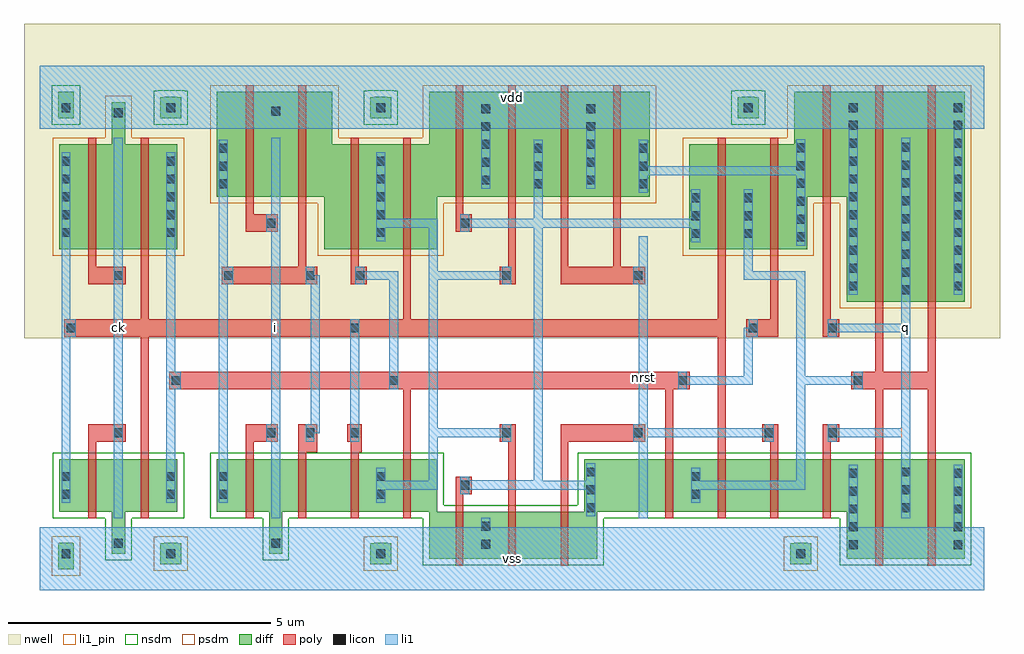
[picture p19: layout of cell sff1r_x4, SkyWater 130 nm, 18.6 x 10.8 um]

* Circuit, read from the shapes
.subckt sff1r_x4 ck i nrst q vdd vss
XM1 vss ck n1 VSUBS sky130_fd_pr__nfet_01v8 w=1 l=0.15
XM2 n2 n1 vss VSUBS sky130_fd_pr__nfet_01v8 w=1 l=0.15
XM3 vss i n3 VSUBS sky130_fd_pr__nfet_01v8 w=1 l=0.15
XM4 n4 n3 vss VSUBS sky130_fd_pr__nfet_01v8 w=1 l=0.15
XM5 n5 n1 n4 VSUBS sky130_fd_pr__nfet_01v8 w=1 l=0.15
XM6 n6 n2 n5 VSUBS sky130_fd_pr__nfet_01v8 w=1 l=0.15
XM7 vss n7 n6 VSUBS sky130_fd_pr__nfet_01v8 w=0.9 l=0.15
XM8 n8 n5 vss VSUBS sky130_fd_pr__nfet_01v8 w=0.9 l=0.15
XM9 n7 nrst n8 VSUBS sky130_fd_pr__nfet_01v8 w=0.9 l=0.15
XM10 n9 n2 n7 VSUBS sky130_fd_pr__nfet_01v8 w=1 l=0.15
XM11 n10 n1 n9 VSUBS sky130_fd_pr__nfet_01v8 w=1 l=0.15
XM12 n11 nrst n10 VSUBS sky130_fd_pr__nfet_01v8 w=1 l=0.15
XM13 vss q n11 VSUBS sky130_fd_pr__nfet_01v8 w=1 l=0.15
XM14 q n9 vss VSUBS sky130_fd_pr__nfet_01v8 w=1.9 l=0.15 m=2
XM15 vdd ck n1 n12 sky130_fd_pr__pfet_01v8 w=2 l=0.15
XM16 n2 n1 vdd n12 sky130_fd_pr__pfet_01v8 w=2 l=0.15
XM17 vdd i n3 n12 sky130_fd_pr__pfet_01v8 w=2 l=0.15
XM18 n13 n3 vdd n12 sky130_fd_pr__pfet_01v8 w=2 l=0.15
XM19 n5 n2 n13 n12 sky130_fd_pr__pfet_01v8 w=2 l=0.15
XM20 n14 n1 n5 n12 sky130_fd_pr__pfet_01v8 w=2 l=0.15
XM21 vdd n7 n14 n12 sky130_fd_pr__pfet_01v8 w=2 l=0.15
XM22 n7 n5 vdd n12 sky130_fd_pr__pfet_01v8 w=2 l=0.15
XM23 vdd nrst n7 n12 sky130_fd_pr__pfet_01v8 w=2 l=0.15
XM24 n15 nrst vdd n12 sky130_fd_pr__pfet_01v8 w=2 l=0.15
XM25 n9 n1 n7 n12 sky130_fd_pr__pfet_01v8 w=2 l=0.15
XM26 n15 n2 n9 n12 sky130_fd_pr__pfet_01v8 w=2 l=0.15
XM27 vdd q n15 n12 sky130_fd_pr__pfet_01v8 w=2 l=0.15
XM28 q n9 vdd n12 sky130_fd_pr__pfet_01v8 w=4 l=0.15 m=2
.ends

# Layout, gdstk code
import gdstk
lib = gdstk.Library(unit=1e-6, precision=1e-09)
def R(c, l, rs):  # rectangles x0, y0, x1, y1
    for r in rs: c.add(gdstk.rectangle(r[:2], r[2:], *l))
def A(c, l, x, y, w, h, nx, ny, dx, dy):  # array of equal rectangles
    R(c, l, [(x+i*dx, y+j*dy, x+i*dx+w, y+j*dy+h) for i in range(nx) for j in range(ny)])
def P(c, l, *ps):  # polygons
    for p in ps: c.add(gdstk.Polygon(p, *l))
nwell = (64, 20)
diff = (65, 20)
poly = (66, 20)
licon = (66, 44)
li1_pin = (67, 16)
li1 = (67, 20)
nsdm = (93, 44)
psdm = (94, 20)

sff1r_x4 = lib.new_cell('sff1r_x4')
R(sff1r_x4, nwell, [(-0.3,4.8,18.3,10.8)])
P(sff1r_x4, diff, [(0.35,0.4),(0.35,0.9),(0.375,0.9),(0.375,0.905),(0.625,0.905),(0.625,0.9),(0.65,0.9),(0.65,0.4)],
  [(2.375,0.495),(2.375,0.5),(2.3,0.5),(2.3,0.9),(2.375,0.9),(2.375,0.905),(2.625,0.905),(2.625,0.9),(2.7,0.9),(2.7,0.5),(2.625,0.5),(2.625,0.495)],
  [(6.375,0.495),(6.375,0.5),(6.3,0.5),(6.3,0.9),(6.375,0.9),(6.375,0.905),(6.625,0.905),(6.625,0.9),(6.7,0.9),(6.7,0.5),(6.625,0.5),(6.625,0.495)],
  [(14.375,0.495),(14.375,0.5),(14.3,0.5),(14.3,0.9),(14.375,0.9),(14.375,0.905),(14.625,0.905),(14.625,0.9),(14.7,0.9),(14.7,0.5),(14.625,0.5),(14.625,0.495)],
  [(1.375,0.695),(1.375,1.5),(0.375,1.5),(0.375,2.5),(2.625,2.5),(2.625,1.5),(1.625,1.5),(1.625,0.695)],
  [(7.425,0.6),(7.425,1.5),(4.625,1.5),(4.625,0.695),(4.375,0.695),(4.375,1.5),(3.375,1.5),(3.375,2.5),(7.575,2.5),(7.575,1.5),(10.375,1.5),(10.375,2.5),(17.625,2.5),(17.625,0.6),(15.375,0.6),(15.375,1.5),(10.625,1.5),(10.625,0.6)],
  [(0.375,6.5),(0.375,8.5),(1.375,8.5),(1.375,9.305),(1.625,9.305),(1.625,8.5),(2.625,8.5),(2.625,6.5)],
  [(2.375,8.995),(2.375,9),(2.3,9),(2.3,9.4),(2.375,9.4),(2.375,9.405),(2.625,9.405),(2.625,9.4),(2.7,9.4),(2.7,9),(2.625,9),(2.625,8.995)],
  [(6.375,8.995),(6.375,9),(6.3,9),(6.3,9.4),(6.375,9.4),(6.375,9.405),(6.625,9.405),(6.625,9.4),(6.7,9.4),(6.7,9),(6.625,9),(6.625,8.995)],
  [(13.375,8.995),(13.375,9),(13.3,9),(13.3,9.4),(13.375,9.4),(13.375,9.405),(13.625,9.405),(13.625,9.4),(13.7,9.4),(13.7,9),(13.625,9),(13.625,8.995)],
  [(0.375,8.995),(0.375,9),(0.35,9),(0.35,9.5),(0.65,9.5),(0.65,9),(0.625,9),(0.625,8.995)],
  [(5.425,6.5),(5.425,7.5),(3.375,7.5),(3.375,9.5),(5.575,9.5),(5.575,8.5),(7.425,8.5),(7.425,9.5),(11.625,9.5),(11.625,7.5),(7.575,7.5),(7.575,6.5)],
  [(15.375,5.5),(15.375,7.5),(14.625,7.5),(14.625,6.5),(12.375,6.5),(12.375,8.5),(14.375,8.5),(14.375,9.5),(17.625,9.5),(17.625,5.5)])
P(sff1r_x4, poly, [(7.925,0.47),(7.925,2.165),(8.235,2.165),(8.235,1.835),(8.075,1.835),(8.075,0.47)],
  [(0.925,1.37),(0.925,3.165),(1.635,3.165),(1.635,2.835),(1.075,2.835),(1.075,1.37)],
  [(3.925,1.37),(3.925,3.165),(4.535,3.165),(4.535,2.835),(4.075,2.835),(4.075,1.37)],
  [(4.925,1.37),(4.925,3.165),(5.285,3.165),(5.285,2.63),(5.075,2.63),(5.075,1.37)],
  [(5.925,1.37),(5.925,2.835),(5.865,2.835),(5.865,3.165),(6.135,3.165),(6.135,2.63),(6.075,2.63),(6.075,1.37)],
  [(8.925,0.47),(8.925,2.835),(8.765,2.835),(8.765,3.165),(9.075,3.165),(9.075,0.47)],
  [(9.925,0.47),(9.925,3.165),(11.535,3.165),(11.535,2.835),(10.075,2.835),(10.075,0.47)],
  [(13.925,1.37),(13.925,2.835),(13.765,2.835),(13.765,3.165),(14.075,3.165),(14.075,1.37)],
  [(14.925,1.37),(14.925,3.165),(15.235,3.165),(15.235,2.835),(15.075,2.835),(15.075,1.37)],
  [(6.925,1.37),(6.925,3.835),(2.465,3.835),(2.465,4.165),(12.385,4.165),(12.385,3.835),(12.075,3.835),(12.075,1.37),(11.925,1.37),(11.925,3.835),(7.075,3.835),(7.075,1.37)],
  [(0.925,5.835),(0.925,8.63),(1.075,8.63),(1.075,6.165),(1.635,6.165),(1.635,5.835)],
  [(5.925,5.835),(5.925,8.63),(6.075,8.63),(6.075,6.165),(6.235,6.165),(6.235,5.835)],
  [(1.925,1.37),(1.925,4.835),(0.465,4.835),(0.465,5.165),(1.925,5.165),(1.925,8.63),(2.075,8.63),(2.075,5.165),(6.925,5.165),(6.925,8.63),(7.075,8.63),(7.075,5.165),(12.925,5.165),(12.925,8.63),(13.075,8.63),(13.075,1.37),(12.925,1.37),(12.925,4.835),(2.075,4.835),(2.075,1.37)],
  [(13.465,4.835),(13.465,5.165),(13.925,5.165),(13.925,8.63),(14.075,8.63),(14.075,4.835)],
  [(3.925,6.835),(3.925,9.63),(4.075,9.63),(4.075,7.165),(4.535,7.165),(4.535,6.835)],
  [(3.465,5.835),(3.465,6.165),(4.925,6.165),(4.925,9.63),(5.075,9.63),(5.075,6.165),(5.285,6.165),(5.285,5.835)],
  [(7.925,6.835),(7.925,9.63),(8.075,9.63),(8.075,7.165),(8.235,7.165),(8.235,6.835)],
  [(8.765,5.835),(8.765,6.165),(8.925,6.165),(8.925,9.63),(9.075,9.63),(9.075,5.835)],
  [(9.925,5.835),(9.925,9.63),(10.075,9.63),(10.075,6.165),(10.925,6.165),(10.925,9.63),(11.075,9.63),(11.075,6.165),(11.535,6.165),(11.535,5.835)],
  [(14.925,4.835),(14.925,9.63),(15.075,9.63),(15.075,5.165),(15.235,5.165),(15.235,4.835)],
  [(15.925,0.47),(15.925,3.835),(15.465,3.835),(15.465,4.165),(15.925,4.165),(15.925,9.63),(16.075,9.63),(16.075,4.165),(16.925,4.165),(16.925,9.63),(17.075,9.63),(17.075,0.47),(16.925,0.47),(16.925,3.835),(16.075,3.835),(16.075,0.47)])
A(sff1r_x4, licon, 15.415, 0.785, 0.17, 0.17, 1, 5, 0, 0.34)
A(sff1r_x4, licon, 17.415, 0.785, 0.17, 0.17, 1, 5, 0, 0.34)
A(sff1r_x4, licon, 10.415, 1.49, 0.17, 0.17, 1, 3, 0, 0.34)
A(sff1r_x4, licon, 16.415, 1.49, 0.17, 0.17, 1, 3, 0, 0.34)
A(sff1r_x4, licon, 8.815, 2.915, 0.17, 0.17, 3, 1, 2.5, 0)
A(sff1r_x4, licon, 16.415, 5.64, 0.17, 0.17, 1, 9, 0, 0.34)
A(sff1r_x4, licon, 15.415, 5.715, 0.17, 0.17, 1, 10, 0, 0.34)
A(sff1r_x4, licon, 17.415, 5.715, 0.17, 0.17, 1, 10, 0, 0.34)
A(sff1r_x4, licon, 14.415, 6.65, 0.17, 0.17, 1, 6, 0, 0.34)
A(sff1r_x4, licon, 12.415, 6.715, 0.17, 0.17, 1, 3, 0, 0.34)
A(sff1r_x4, licon, 13.415, 6.715, 0.17, 0.17, 1, 3, 0, 0.34)
A(sff1r_x4, licon, 0.415, 6.735, 0.17, 0.17, 1, 5, 0, 0.34)
A(sff1r_x4, licon, 2.415, 6.735, 0.17, 0.17, 1, 5, 0, 0.34)
A(sff1r_x4, licon, 6.415, 6.735, 0.17, 0.17, 1, 5, 0, 0.34)
A(sff1r_x4, licon, 3.415, 7.66, 0.17, 0.17, 1, 3, 0, 0.34)
A(sff1r_x4, licon, 9.415, 7.66, 0.17, 0.17, 1, 3, 0, 0.34)
A(sff1r_x4, licon, 11.415, 7.66, 0.17, 0.17, 1, 3, 0, 0.34)
A(sff1r_x4, licon, 8.415, 7.735, 0.17, 0.17, 1, 5, 0, 0.34)
A(sff1r_x4, licon, 10.415, 7.735, 0.17, 0.17, 1, 5, 0, 0.34)
A(sff1r_x4, licon, 13.415, 9.115, 0.17, 0.17, 3, 1, 2, 0)
R(sff1r_x4, licon, [(0.415,0.615,0.585,0.785), (2.415,0.615,2.585,0.785), (6.415,0.615,6.585,0.785), (14.415,0.615,14.585,0.785), (8.415,0.795,8.585,0.965), (1.415,0.815,1.585,0.985), (4.415,0.815,4.585,0.985), (8.415,1.135,8.585,1.305), (0.415,1.745,0.585,1.915), (2.415,1.745,2.585,1.915), (3.415,1.745,3.585,1.915), (6.415,1.745,6.585,1.915), (12.415,1.745,12.585,1.915), (8.015,1.915,8.185,2.085), (0.415,2.085,0.585,2.255), (2.415,2.085,2.585,2.255), (3.415,2.085,3.585,2.255), (6.415,2.085,6.585,2.255), (12.415,2.085,12.585,2.255), (1.415,2.915,1.585,3.085), (4.315,2.915,4.485,3.085), (5.065,2.915,5.235,3.085), (5.915,2.915,6.085,3.085), (15.015,2.915,15.185,3.085), (2.515,3.915,2.685,4.085), (6.665,3.915,6.835,4.085), (12.165,3.915,12.335,4.085), (15.515,3.915,15.685,4.085), (0.515,4.915,0.685,5.085), (5.915,4.915,6.085,5.085), (13.515,4.915,13.685,5.085), (15.015,4.915,15.185,5.085), (1.415,5.915,1.585,6.085), (3.515,5.915,3.685,6.085), (5.065,5.915,5.235,6.085), (6.015,5.915,6.185,6.085), (8.815,5.915,8.985,6.085), (11.315,5.915,11.485,6.085), (4.315,6.915,4.485,7.085), (8.015,6.915,8.185,7.085), (1.415,9.015,1.585,9.185), (4.415,9.045,4.585,9.215), (0.415,9.115,0.585,9.285), (2.415,9.115,2.585,9.285), (6.415,9.115,6.585,9.285)])
R(sff1r_x4, li1_pin, [(0,0,18,1.2), (1.415,1.37,1.585,8.63), (4.415,1.37,4.585,8.63), (11.415,1.37,11.585,6.745), (16.415,1.37,16.585,8.63), (0,8.8,18,10)])
R(sff1r_x4, li1, [(1.415,1.37,1.585,8.63), (5.915,2.835,6.085,5.165)])
P(sff1r_x4, li1, [(0,0),(0,1.2),(8.415,1.2),(8.415,1.385),(8.585,1.385),(8.585,1.2),(15.415,1.2),(15.415,2.395),(15.585,2.395),(15.585,1.2),(17.415,1.2),(17.415,2.395),(17.585,2.395),(17.585,1.2),(18,1.2),(18,0)],
  [(12.165,3.835),(12.165,4.165),(12.335,4.165),(12.335,4.085),(13.415,4.085),(13.415,5.005),(13.515,5.005),(13.515,5.165),(13.685,5.165),(13.685,4.835),(13.585,4.835),(13.585,3.915),(12.335,3.915),(12.335,3.835)],
  [(5.065,2.835),(5.065,3.165),(5.165,3.165),(5.165,5.835),(5.065,5.835),(5.065,6.165),(5.235,6.165),(5.235,6.005),(5.335,6.005),(5.335,2.995),(5.235,2.995),(5.235,2.835)],
  [(6.665,3.835),(6.665,5.915),(6.185,5.915),(6.185,5.835),(6.015,5.835),(6.015,6.165),(6.185,6.165),(6.185,6.085),(6.835,6.085),(6.835,3.835)],
  [(11.415,1.37),(11.415,2.835),(11.315,2.835),(11.315,3.165),(11.415,3.165),(11.415,5.835),(11.315,5.835),(11.315,6.165),(11.415,6.165),(11.415,6.745),(11.585,6.745),(11.585,3.085),(13.815,3.085),(13.815,3.165),(13.985,3.165),(13.985,2.835),(13.815,2.835),(13.815,2.915),(11.585,2.915),(11.585,1.37)],
  [(12.415,1.665),(12.415,2.335),(12.585,2.335),(12.585,2.085),(14.415,2.085),(14.415,5.915),(13.415,5.915),(13.415,7.645),(13.585,7.645),(13.585,6.085),(14.585,6.085),(14.585,4.085),(15.515,4.085),(15.515,4.165),(15.685,4.165),(15.685,3.835),(15.515,3.835),(15.515,3.915),(14.585,3.915),(14.585,1.915),(12.585,1.915),(12.585,1.665)],
  [(0.415,1.665),(0.415,8.345),(0.585,8.345),(0.585,5.165),(0.685,5.165),(0.685,4.835),(0.585,4.835),(0.585,1.665)],
  [(2.415,1.665),(2.415,8.345),(2.585,8.345),(2.585,4.165),(2.685,4.165),(2.685,3.835),(2.585,3.835),(2.585,1.665)],
  [(6.415,1.665),(6.415,2.335),(6.585,2.335),(6.585,2.085),(7.415,2.085),(7.415,6.915),(6.585,6.915),(6.585,6.655),(6.415,6.655),(6.415,8.345),(6.585,8.345),(6.585,7.085),(7.585,7.085),(7.585,6.085),(8.815,6.085),(8.815,6.165),(8.985,6.165),(8.985,5.835),(8.815,5.835),(8.815,5.915),(7.585,5.915),(7.585,3.085),(8.815,3.085),(8.815,3.165),(8.985,3.165),(8.985,2.835),(8.815,2.835),(8.815,2.915),(7.585,2.915),(7.585,1.915),(6.585,1.915),(6.585,1.665)],
  [(3.415,1.665),(3.415,8.59),(3.585,8.59),(3.585,6.165),(3.685,6.165),(3.685,5.835),(3.585,5.835),(3.585,1.665)],
  [(10.415,1.41),(10.415,1.915),(8.185,1.915),(8.185,1.835),(8.015,1.835),(8.015,2.165),(8.185,2.165),(8.185,2.1),(9.415,2.1),(9.415,6.915),(8.185,6.915),(8.185,6.835),(8.015,6.835),(8.015,7.165),(8.185,7.165),(8.185,7.085),(9.415,7.085),(9.415,8.59),(9.585,8.59),(9.585,7.085),(12.415,7.085),(12.415,7.645),(12.585,7.645),(12.585,6.635),(12.415,6.635),(12.415,6.915),(9.585,6.915),(9.585,2.085),(10.415,2.085),(10.415,2.42),(10.585,2.42),(10.585,1.41)],
  [(14.415,6.57),(14.415,7.915),(11.585,7.915),(11.585,7.58),(11.415,7.58),(11.415,8.59),(11.585,8.59),(11.585,8.085),(14.415,8.085),(14.415,8.6),(14.585,8.6),(14.585,6.57)],
  [(4.415,1.37),(4.415,2.835),(4.315,2.835),(4.315,3.165),(4.415,3.165),(4.415,6.835),(4.315,6.835),(4.315,7.165),(4.415,7.165),(4.415,8.63),(4.585,8.63),(4.585,1.37)],
  [(16.415,1.37),(16.415,2.915),(15.185,2.915),(15.185,2.835),(15.015,2.835),(15.015,3.165),(15.185,3.165),(15.185,3.085),(16.415,3.085),(16.415,4.915),(15.185,4.915),(15.185,4.835),(15.015,4.835),(15.015,5.165),(15.185,5.165),(15.185,5.085),(16.415,5.085),(16.415,8.63),(16.585,8.63),(16.585,1.37)],
  [(15.415,5.635),(15.415,8.8),(10.585,8.8),(10.585,7.655),(10.415,7.655),(10.415,8.8),(8.585,8.8),(8.585,7.655),(8.415,7.655),(8.415,8.8),(0,8.8),(0,10),(18,10),(18,8.8),(17.585,8.8),(17.585,5.635),(17.415,5.635),(17.415,8.8),(15.585,8.8),(15.585,5.635)])
P(sff1r_x4, nsdm, [(1.25,0.57),(1.25,1.375),(0.25,1.375),(0.25,2.625),(2.75,2.625),(2.75,1.375),(1.75,1.375),(1.75,0.57)],
  [(7.3,0.475),(7.3,1.375),(4.75,1.375),(4.75,0.57),(4.25,0.57),(4.25,1.375),(3.25,1.375),(3.25,2.625),(7.7,2.625),(7.7,1.625),(10.25,1.625),(10.25,2.625),(17.75,2.625),(17.75,0.475),(15.25,0.475),(15.25,1.375),(10.75,1.375),(10.75,0.475)],
  [(2.25,8.87),(2.25,8.875),(2.175,8.875),(2.175,9.525),(2.25,9.525),(2.25,9.53),(2.75,9.53),(2.75,9.525),(2.825,9.525),(2.825,8.875),(2.75,8.875),(2.75,8.87)],
  [(6.25,8.87),(6.25,8.875),(6.175,8.875),(6.175,9.525),(6.25,9.525),(6.25,9.53),(6.75,9.53),(6.75,9.525),(6.825,9.525),(6.825,8.875),(6.75,8.875),(6.75,8.87)],
  [(13.25,8.87),(13.25,8.875),(13.175,8.875),(13.175,9.525),(13.25,9.525),(13.25,9.53),(13.75,9.53),(13.75,9.525),(13.825,9.525),(13.825,8.875),(13.75,8.875),(13.75,8.87)],
  [(0.25,8.87),(0.25,8.875),(0.225,8.875),(0.225,9.625),(0.775,9.625),(0.775,8.875),(0.75,8.875),(0.75,8.87)])
P(sff1r_x4, psdm, [(0.225,0.275),(0.225,1.025),(0.25,1.025),(0.25,1.03),(0.75,1.03),(0.75,1.025),(0.775,1.025),(0.775,0.275)],
  [(2.25,0.37),(2.25,0.375),(2.175,0.375),(2.175,1.025),(2.25,1.025),(2.25,1.03),(2.75,1.03),(2.75,1.025),(2.825,1.025),(2.825,0.375),(2.75,0.375),(2.75,0.37)],
  [(6.25,0.37),(6.25,0.375),(6.175,0.375),(6.175,1.025),(6.25,1.025),(6.25,1.03),(6.75,1.03),(6.75,1.025),(6.825,1.025),(6.825,0.375),(6.75,0.375),(6.75,0.37)],
  [(14.25,0.37),(14.25,0.375),(14.175,0.375),(14.175,1.025),(14.25,1.025),(14.25,1.03),(14.75,1.03),(14.75,1.025),(14.825,1.025),(14.825,0.375),(14.75,0.375),(14.75,0.37)],
  [(0.25,6.375),(0.25,8.625),(1.25,8.625),(1.25,9.43),(1.75,9.43),(1.75,8.625),(2.75,8.625),(2.75,6.375)],
  [(5.3,6.375),(5.3,7.375),(3.25,7.375),(3.25,9.625),(5.7,9.625),(5.7,8.625),(7.3,8.625),(7.3,9.625),(11.75,9.625),(11.75,7.375),(7.7,7.375),(7.7,6.375)],
  [(15.25,5.375),(15.25,7.375),(14.75,7.375),(14.75,6.375),(12.25,6.375),(12.25,8.625),(14.25,8.625),(14.25,9.625),(17.75,9.625),(17.75,5.375)])
sff1r_x4.add(gdstk.Label('vss', (9,0.6), layer=67, texttype=16))
sff1r_x4.add(gdstk.Label('ck', (1.5,5), layer=67, texttype=16))
sff1r_x4.add(gdstk.Label('vdd', (9,9.4), layer=67, texttype=16))
sff1r_x4.add(gdstk.Label('i', (4.5,5), layer=67, texttype=16))
sff1r_x4.add(gdstk.Label('nrst', (11.5,4.058), layer=67, texttype=16))
sff1r_x4.add(gdstk.Label('q', (16.5,5), layer=67, texttype=16))
sff1r_x4.add(gdstk.Label('vss', (9,0.6), layer=67, texttype=16))
sff1r_x4.add(gdstk.Label('ck', (1.5,5), layer=67, texttype=16))
sff1r_x4.add(gdstk.Label('vdd', (9,9.4), layer=67, texttype=16))
sff1r_x4.add(gdstk.Label('i', (4.5,5), layer=67, texttype=16))
sff1r_x4.add(gdstk.Label('nrst', (11.5,4.058), layer=67, texttype=16))
sff1r_x4.add(gdstk.Label('q', (16.5,5), layer=67, texttype=16))

lib.write_gds('sff1r_x4.gds')
